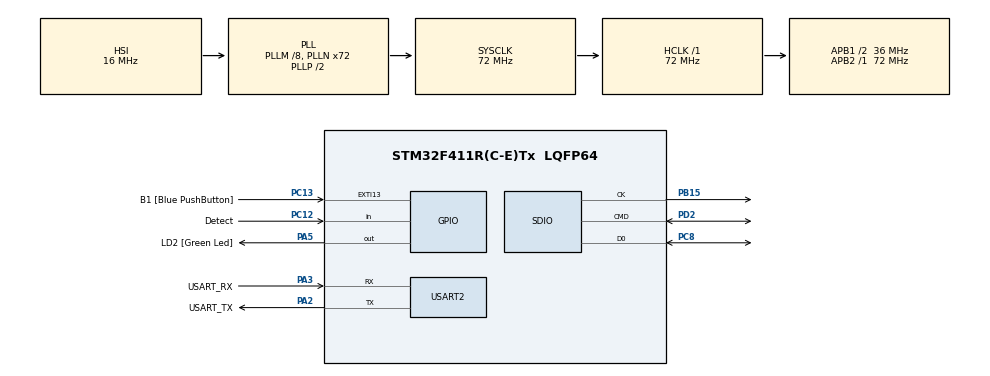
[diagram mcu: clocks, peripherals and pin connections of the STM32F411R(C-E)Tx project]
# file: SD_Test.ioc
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FATFS.BSP.number=1
FATFS._FS_EXFAT=1
FATFS._USE_CHMOD=1
FATFS._USE_EXPAND=1
FATFS._USE_FIND=1
FATFS._USE_FORWARD=1
FATFS._USE_LABEL=1
FATFS._USE_LFN=1
FATFS0.BSP.STBoard=false
FATFS0.BSP.api=Unknown
FATFS0.BSP.instance=PC12
FATFS0.BSP.ip=GPIO
FATFS0.BSP.mode=Input
FATFS0.BSP.name=Detect_SDIO
FATFS0.BSP.solution=PC12
Mcu.Family=STM32F4
Mcu.Name=STM32F411R(C-E)Tx
Mcu.Package=LQFP64
NVIC.PriorityGroup=NVIC_PRIORITYGROUP_0
NVIC.SDIO_IRQn=true\:0\:0\:false\:false\:true\:true\:true\:true
PA13.GPIO_Label=TMS
PA13.Mode=Serial_Wire
PA13.Signal=SYS_JTMS-SWDIO
PA14.GPIO_Label=TCK
PA14.Mode=Serial_Wire
PA14.Signal=SYS_JTCK-SWCLK
PA2.GPIO_Label=USART_TX
PA2.Mode=Asynchronous
PA2.Signal=USART2_TX
PA3.GPIO_Label=USART_RX
PA3.Mode=Asynchronous
PA3.Signal=USART2_RX
PA5.GPIO_Label=LD2 [Green Led]
PA5.Signal=GPIO_Output
PB15.Mode=SD_1_bit
PB15.Signal=SDIO_CK
PB3.GPIO_Label=SWO
PB3.Signal=SYS_JTDO-SWO
PC12.GPIO_Label=Detect
PC12.Signal=GPIO_Input
PC13-ANTI_TAMP.GPIO_Label=B1 [Blue PushButton]
PC13-ANTI_TAMP.GPIO_ModeDefaultEXTI=GPIO_MODE_IT_FALLING
PC13-ANTI_TAMP.Signal=GPXTI13
PC14-OSC32_IN.Mode=LSE-External-Oscillator
PC14-OSC32_IN.Signal=RCC_OSC32_IN
PC15-OSC32_OUT.Mode=LSE-External-Oscillator
PC15-OSC32_OUT.Signal=RCC_OSC32_OUT
PC8.Mode=SD_1_bit
PC8.Signal=SDIO_D0
PD2.Mode=SD_1_bit
PD2.Signal=SDIO_CMD
PH0\ -\ OSC_IN.Mode=HSE-External-Clock-Source
PH0\ -\ OSC_IN.Signal=RCC_OSC_IN
PH1\ -\ OSC_OUT.Mode=HSE-External-Clock-Source
PH1\ -\ OSC_OUT.Signal=RCC_OSC_OUT
ProjectManager.HeapSize=0x200
ProjectManager.StackSize=0x400
ProjectManager.TargetToolchain=STM32CubeIDE
RCC.48MHZClocksFreq_Value=48000000
RCC.AHBFreq_Value=72000000
RCC.APB1CLKDivider=RCC_HCLK_DIV2
RCC.APB1Freq_Value=36000000
RCC.APB1TimFreq_Value=72000000
RCC.APB2Freq_Value=72000000
RCC.APB2TimFreq_Value=72000000
RCC.CortexFreq_Value=72000000
RCC.FLatency-AdvancedSettings=FLASH_LATENCY_2
RCC.HCLKFreq_Value=72000000
RCC.HSE_VALUE=8000000
RCC.HSI_VALUE=16000000
RCC.PLLM=8
RCC.PLLN=72
RCC.PLLQ=3
RCC.SYSCLKFreq_VALUE=72000000
RCC.SYSCLKSource=RCC_SYSCLKSOURCE_PLLCLK
RCC.VCOOutputFreq_Value=144000000
SDIO.ClockDiv=4
USART2.VirtualMode=VM_ASYNC
VP_FATFS_VS_SDIO.Mode=SDIO
board=NUCLEO-F411RE

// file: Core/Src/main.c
/* USER CODE BEGIN Header */
/**
  ******************************************************************************
  * @file           : main.c
  * @brief          : Main program body
  ******************************************************************************
  * @attention
  *
  * Copyright (c) 2025 STMicroelectronics.
  * All rights reserved.
  *
  * This software is licensed under terms that can be found in the LICENSE file
  * in the root directory of this software component.
  * If no LICENSE file comes with this software, it is provided AS-IS.
  *
  ******************************************************************************
  */
/* USER CODE END Header */
#include "main.h"
#include "fatfs.h"
#include "sdio.h"
#include "usart.h"
#include "gpio.h"

/* USER CODE BEGIN Includes */

#include "stdio.h"

/* USER CODE END Includes */

/* USER CODE BEGIN PTD */

typedef struct {
    uint16_t format;
    uint16_t channels;
    uint32_t frequency;
    uint32_t bytes_per_sec;
    uint16_t bytes_per_block;
    uint16_t bits_per_sample;
} fmt_typedef;

/* USER CODE END PTD */

/* USER CODE BEGIN PD */

#define SAMPLE_FREQ 96000

/* USER CODE END PD */

/* USER CODE BEGIN PV */

int16_t data_i2s[100];
volatile int16_t sample_i2s;

const char total_uptime_filename[] = "myfile.dat";

float amplifier = 0.5;

int8_t usart_rx_buffer[16];

int16_t *do_buffer;

uint32_t buffers_done;
uint32_t total_uptime;

uint8_t open_next_file = 1;

FRESULT res;
DIR dir;
FIL music_file;
FILINFO music_file_info;

/* USER CODE END PV */

void SystemClock_Config(void);

int main(void)
{

  /* MCU Configuration--------------------------------------------------------*/

  /* Reset of all peripherals, Initializes the Flash interface and the Systick. */
  HAL_Init();

  /* Configure the system clock */
  SystemClock_Config();

  /* Initialize all configured peripherals */
  MX_GPIO_Init();
  MX_SDIO_SD_Init();
  MX_USART2_UART_Init();
  MX_FATFS_Init();
  /* USER CODE BEGIN 2 */

  uint32_t wbytes, rbytes;

    FRESULT fr;
    UINT bytes;

    HAL_Delay(20);

//    fr = f_mount(&SDFatFS, SDPath, 1);
//    if (fr != FR_OK) {
//        printf("Unable to mount disk: %d\n", fr);
//        Error_Handler();
//    }
//
//    fr = f_open(&SDFile, total_uptime_filename, FA_OPEN_ALWAYS | FA_READ | FA_WRITE);
//    if (fr != FR_OK) {
//        printf("Unable to open/create file: %d\n", fr);
//        Error_Handler();
//    }
//
//    // Read existing uptime if the file has data
//    fr = f_read(&SDFile, &total_uptime, sizeof(total_uptime), &bytes);
//    if (fr != FR_OK || bytes != sizeof(total_uptime)) {
//        total_uptime = 0;  // File empty or read failed
//    }
//
//    // Move file pointer to beginning before writing
//    f_lseek(&SDFile, 0);
//
//    // Write uptime back
//    fr = f_write(&SDFile, &total_uptime, sizeof(total_uptime), &bytes);
//    if (fr != FR_OK || bytes != sizeof(total_uptime)) {
//        printf("Unable to write: %d\n", fr);
//        Error_Handler();
//    }
//
//    f_close(&SDFile);

    GPIO_PinState pin_state = HAL_GPIO_ReadPin(GPIOC, Detect_Pin);
//    GPIO_PinState pin_stat1e = HAL_GPIO_ReadPin(GPIOD, SDIO_CMD_Pin);
//    GPIO_PinState pin_state2 = HAL_GPIO_ReadPin(GPIOC, SDIO_DO_Pin);

      printf("SD Card Information");
      res = f_mount(&SDFatFS, SDPath, 1);
      if (res != FR_OK) {
              printf("Unable to mount disk\n");
              //Error_Handler();
      }

      HAL_Delay(20);

      	  FRESULT butt = f_open(&SDFile, total_uptime_filename, FA_OPEN_ALWAYS | FA_READ);

      if (butt == FR_OK) {
          if (f_read(&SDFile, &total_uptime, sizeof(total_uptime), (void*) &rbytes) == FR_OK) {
              printf("Total uptime = %lu\n", total_uptime);
              f_close(&SDFile);
          } else {
              printf("Unable to read\n");
              //Error_Handler();
          }
      } else {
          // File did not exist - let's create it
    	  FRESULT fr = f_open(&SDFile, total_uptime_filename, FA_CREATE_ALWAYS | FA_WRITE);
          if (fr == FR_OK) {
              if (f_write(&SDFile, &total_uptime, sizeof(total_uptime), (void*) &wbytes) == FR_OK) {
                  printf("File %s created\n", total_uptime_filename);
                  f_close(&SDFile);
              } else {
                  printf("Unable to write\n");
                  //Error_Handler();
              }
          } else {
        	  FRESULT fr = f_open(&SDFile, total_uptime_filename, FA_CREATE_ALWAYS | FA_WRITE);
              printf("Unable to create\n");
              //Error_Handler();
          }
      }

    uint32_t now = 0, next_blink = 500, next_tick = 1000, loop_cnt = 0;

  /* USER CODE END 2 */

  /* Infinite loop */
  while (1)
  {

  }
}

void SystemClock_Config(void)
{
  RCC_OscInitTypeDef RCC_OscInitStruct = {0};
  RCC_ClkInitTypeDef RCC_ClkInitStruct = {0};

  /** Configure the main internal regulator output voltage
  */
  __HAL_RCC_PWR_CLK_ENABLE();
  __HAL_PWR_VOLTAGESCALING_CONFIG(PWR_REGULATOR_VOLTAGE_SCALE1);

  /** Initializes the RCC Oscillators according to the specified parameters
  * in the RCC_OscInitTypeDef structure.
  */
  RCC_OscInitStruct.OscillatorType = RCC_OSCILLATORTYPE_HSI;
  RCC_OscInitStruct.HSIState = RCC_HSI_ON;
  RCC_OscInitStruct.HSICalibrationValue = RCC_HSICALIBRATION_DEFAULT;
  RCC_OscInitStruct.PLL.PLLState = RCC_PLL_ON;
  RCC_OscInitStruct.PLL.PLLSource = RCC_PLLSOURCE_HSI;
  RCC_OscInitStruct.PLL.PLLM = 8;
  RCC_OscInitStruct.PLL.PLLN = 72;
  RCC_OscInitStruct.PLL.PLLP = RCC_PLLP_DIV2;
  RCC_OscInitStruct.PLL.PLLQ = 3;
  if (HAL_RCC_OscConfig(&RCC_OscInitStruct) != HAL_OK)
  {
    Error_Handler();
  }

  /** Initializes the CPU, AHB and APB buses clocks
  */
  RCC_ClkInitStruct.ClockType = RCC_CLOCKTYPE_HCLK|RCC_CLOCKTYPE_SYSCLK
                              |RCC_CLOCKTYPE_PCLK1|RCC_CLOCKTYPE_PCLK2;
  RCC_ClkInitStruct.SYSCLKSource = RCC_SYSCLKSOURCE_PLLCLK;
  RCC_ClkInitStruct.AHBCLKDivider = RCC_SYSCLK_DIV1;
  RCC_ClkInitStruct.APB1CLKDivider = RCC_HCLK_DIV2;
  RCC_ClkInitStruct.APB2CLKDivider = RCC_HCLK_DIV1;

  if (HAL_RCC_ClockConfig(&RCC_ClkInitStruct, FLASH_LATENCY_2) != HAL_OK)
  {
    Error_Handler();
  }
}

/* USER CODE BEGIN 4 */

int _write(int file, char *ptr, int len){
	int DataIdx;

	for(DataIdx = 0; DataIdx < len; DataIdx++){
		ITM_SendChar(*ptr++);
	}
	return len;
}

/* USER CODE END 4 */

void Error_Handler(void)
{
  __disable_irq();
  while (1)
  {
  }
}
